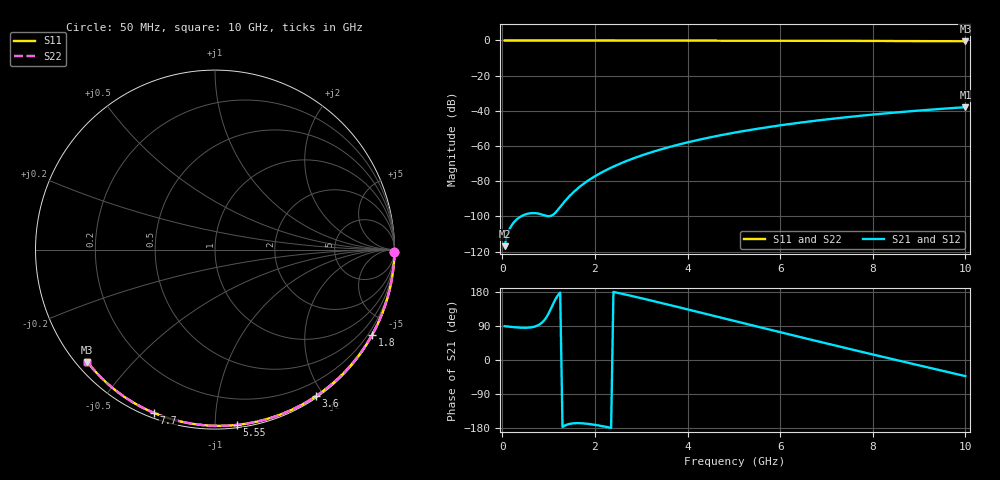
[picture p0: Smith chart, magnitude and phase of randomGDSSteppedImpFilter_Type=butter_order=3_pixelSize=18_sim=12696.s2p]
! freq	dB(S11)	phase(S11)	dB(S12)	phase(S12)
!  dB(S21)	phase(S21)	dB(S22)	phase(S22)
!S-par simulation data
#  GHz  S  DB  R 50
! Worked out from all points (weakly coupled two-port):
!   200 points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, 50 MHz to 10 GHz, reference 50 ohm
!   highest |S21| = -37.91 dB at 10 GHz (marker M1); lowest = -116.9 dB at 50 MHz (marker M2)
!   lowest |S11| = -0.5 dB at 10 GHz (marker M3), VSWR 36.99, Z = 1.54 - j18.9 ohm
!   |S11| at or under -10 dB: nowhere
!   |S22| runs from -0.5 to 0.0 dB; largest |S21 - S12| = 0
!   S11 on the Smith chart (normalised r, x): 50 MHz: open; 1.8 GHz: 0.03, -3.95; 3.6 GHz: 0.02, -1.90; 5.55 GHz: 0.02, -1.13; 7.7 GHz: 0.02, -0.69; 10 GHz: 0.03, -0.38
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0.05  -0.00 -0.8  -116.89 89.3  -116.89 89.3  -0.00 -0.8
0.45  -0.01 -7.2  -99.34 85.1  -99.34 85.1  -0.01 -7.2
0.9  -0.02 -14.3  -99.27 104.0  -99.27 104.0  -0.02 -14.3
1.75  -0.04 -27.6  -81.54 -167.3  -81.54 -167.3  -0.04 -27.6
1.8  -0.04 -28.4  -80.59 -167.9  -80.59 -167.9  -0.04 -28.4
1.85  -0.04 -29.2  -79.68 -168.5  -79.68 -168.5  -0.04 -29.2
2.05  -0.04 -32.3  -76.40 -172.1  -76.40 -172.1  -0.04 -32.3
2.25  -0.05 -35.3  -73.56 -176.6  -73.56 -176.6  -0.05 -35.3
2.55  -0.05 -39.9  -69.92 175.7  -69.92 175.7  -0.05 -39.9
2.95  -0.06 -45.9  -65.87 164.6  -65.87 164.6  -0.06 -45.9
3.4  -0.07 -52.6  -62.08 151.5  -62.08 151.5  -0.07 -52.6
3.6  -0.07 -55.5  -60.59 145.6  -60.59 145.6  -0.07 -55.5
3.9  -0.08 -59.8  -58.54 136.6  -58.54 136.6  -0.08 -59.8
4.3  -0.09 -65.6  -56.10 124.6  -56.10 124.6  -0.09 -65.6
5.05  -0.12 -76.0  -52.21 101.9  -52.21 101.9  -0.12 -76.0
5.55  -0.14 -82.8  -50.01 86.9  -50.01 86.9  -0.14 -82.8
6.1  -0.16 -90.1  -47.87 70.4  -47.87 70.4  -0.16 -90.1
6.7  -0.19 -97.9  -45.81 52.6  -45.81 52.6  -0.19 -97.9
7.7  -0.25 -110.6  -42.89 23.3  -42.89 23.3  -0.25 -110.6
8.35  -0.30 -118.6  -41.26 4.5  -41.26 4.5  -0.30 -118.6
9.2  -0.38 -129.0  -39.41 -19.9  -39.41 -19.9  -0.38 -129.0
10  -0.47 -138.6  -37.91 -42.6  -37.91 -42.6  -0.47 -138.6
